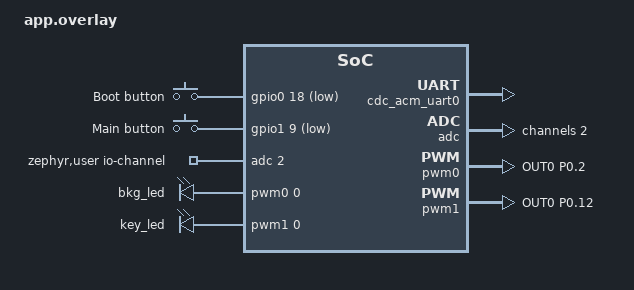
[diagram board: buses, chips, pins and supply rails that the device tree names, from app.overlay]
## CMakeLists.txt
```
cmake_minimum_required(VERSION 3.20.0)

set(APP_BIN "main" CACHE STRING "Application binary to build: main, uart, pwm_led, adc, usb, ble, key")

find_package(Zephyr REQUIRED HINTS $ENV{ZEPHYR_BASE})
project(RhythmDoctorButton)

if(APP_BIN STREQUAL "main")
  target_sources(app PRIVATE
    src/main.cpp
    src/battery_adc.cpp
    src/button.cpp
    src/light.cpp
    src/keyboard/ble.cpp
    src/keyboard/ble_hid.c
    src/keyboard/usb.cpp
  )
elseif(APP_BIN STREQUAL "uart")
  target_sources(app PRIVATE src/bin/test_uart.cpp)
elseif(APP_BIN STREQUAL "pwm_led")
  target_sources(app PRIVATE src/bin/test_pwm_led.cpp src/light.cpp)
elseif(APP_BIN STREQUAL "key")
  target_sources(app PRIVATE
    src/bin/test_key.cpp
    src/button.cpp
    src/light.cpp
  )
elseif(APP_BIN STREQUAL "adc")
  target_sources(app PRIVATE src/bin/test_adc.cpp src/battery_adc.cpp)
elseif(APP_BIN STREQUAL "usb")
  target_sources(app PRIVATE src/bin/test_usb.cpp src/keyboard/usb.cpp)
elseif(APP_BIN STREQUAL "ble")
  target_sources(app PRIVATE
    src/bin/test_ble.cpp
    src/keyboard/ble.cpp
    src/keyboard/ble_hid.c
  )
else()
  message(FATAL_ERROR "Unknown APP_BIN='${APP_BIN}'")
endif()

target_include_directories(app PRIVATE
  src
)
```

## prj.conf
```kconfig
CONFIG_CPP=y
CONFIG_STD_CPP2B=y
CONFIG_REQUIRES_FULL_LIBCPP=y
CONFIG_GLIBCXX_LIBCPP=y

CONFIG_MAIN_STACK_SIZE=4096
CONFIG_SYSTEM_WORKQUEUE_STACK_SIZE=2048
CONFIG_BT_RX_STACK_SIZE=2048

CONFIG_BT=y
CONFIG_BT_PERIPHERAL=y
CONFIG_BT_MAX_PAIRED=1
CONFIG_BT_DEVICE_NAME="RhythmDoctorButton"

CONFIG_BT_KEYS_OVERWRITE_OLDEST=y
CONFIG_BT_SMP=y
CONFIG_BT_SECURITY_ERR_TO_STR=y
CONFIG_BT_SMP_SC_PAIR_ONLY=n
CONFIG_BT_SMP_ENFORCE_MITM=n
CONFIG_BT_SMP_ALLOW_UNAUTH_OVERWRITE=y
CONFIG_BT_SMP_MIN_ENC_KEY_SIZE=7
CONFIG_BT_SETTINGS=y
CONFIG_BT_BONDABLE=y
CONFIG_BT_SETTINGS_CCC_STORE_ON_WRITE=y
CONFIG_BT_SETTINGS_CCC_LAZY_LOADING=n
CONFIG_SETTINGS=y
CONFIG_FLASH=y
CONFIG_FLASH_MAP=y
# CONFIG_NORDIC_QSPI_NOR is not set
CONFIG_NVS=y
CONFIG_SETTINGS_NVS=y

CONFIG_BT_LIM_ADV_TIMEOUT=180

CONFIG_BT_BAS=y
CONFIG_BT_DIS=y
CONFIG_BT_DIS_PNP=n
CONFIG_BT_DIS_MODEL_NUMBER=y
CONFIG_BT_DIS_MODEL_NUMBER_STR="v1.0.0"
CONFIG_BT_DIS_MANUF_NAME=y
CONFIG_BT_DIS_MANUF_NAME_STR="TeamIO"
CONFIG_BT_DIS_SERIAL_NUMBER=y
CONFIG_BT_DIS_SERIAL_NUMBER_STR="0xAABBCCDD"

CONFIG_BT_DEVICE_APPEARANCE=961 
CONFIG_BT_PERIPHERAL_PREF_MIN_INT=6    
CONFIG_BT_PERIPHERAL_PREF_MAX_INT=18    
CONFIG_BT_PERIPHERAL_PREF_LATENCY=10   
CONFIG_BT_PERIPHERAL_PREF_TIMEOUT=200
CONFIG_BT_GAP_AUTO_UPDATE_CONN_PARAMS=y

CONFIG_GPIO=y
CONFIG_ADC=y
CONFIG_PWM=y
CONFIG_SERIAL=y
CONFIG_CONSOLE=y
CONFIG_UART_CONSOLE=y
CONFIG_STDOUT_CONSOLE=y
CONFIG_UART_LINE_CTRL=y

CONFIG_CLOCK_CONTROL_NRF_K32SRC_XTAL=y
# CONFIG_CLOCK_CONTROL_NRF_K32SRC_RC=y
CONFIG_SYSTEM_CLOCK_NO_WAIT=y

CONFIG_USB_DEVICE_STACK_NEXT=y
CONFIG_USBD_HID_SUPPORT=y
CONFIG_USBD_CDC_ACM_CLASS=y

CONFIG_BUILD_OUTPUT_UF2=y
CONFIG_FLASH_LOAD_OFFSET=0x26000
```

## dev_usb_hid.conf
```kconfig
CONFIG_CDC_ACM_SERIAL_INITIALIZE_AT_BOOT=n
```

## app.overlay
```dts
/ {
	chosen {
		zephyr,console = &cdc_acm_uart0;
	};

	hid_dev_0: hid_dev_0 {
		compatible = "zephyr,hid-device";
		label = "HID0";
		protocol-code = "keyboard";
		in-report-size = <8>;
		in-polling-period-us = <1000>;
	};

	buttons {
		compatible = "gpio-keys";

		boot_btn: boot_btn {
			gpios = <&gpio0 18 GPIO_ACTIVE_LOW>;
			label = "Boot button";
		};

		main_btn: main_btn {
			gpios = <&gpio1 9 GPIO_ACTIVE_LOW>;
			label = "Main button";
		};
	};

	zephyr,user {
		io-channels = <&adc 2>;
	};

	pwmleds {
		compatible = "pwm-leds";

		bkg_led: bkg_led {
			pwms = <&pwm0 0 PWM_USEC(20) PWM_POLARITY_INVERTED>;
		};

		key_led: key_led {
			pwms = <&pwm1 0 PWM_USEC(20) PWM_POLARITY_NORMAL>;
		};
	};

	aliases {
		boot-btn = &boot_btn;
		main-btn = &main_btn;
		bkg-led = &bkg_led;
		key-led = &key_led;
	};
};

&zephyr_udc0 {
	cdc_acm_uart0: cdc_acm_uart0 {
		compatible = "zephyr,cdc-acm-uart";
	};
};

&adc {
	status = "okay";
	#address-cells = <1>;
	#size-cells = <0>;

	channel@2 {
		reg = <2>;
		zephyr,gain = "ADC_GAIN_1_4";
		zephyr,reference = "ADC_REF_INTERNAL";
		zephyr,acquisition-time = <ADC_ACQ_TIME_DEFAULT>;
		zephyr,input-positive = <NRF_SAADC_AIN2>;
		zephyr,resolution = <12>;
	};
};

&pwm0 {
	status = "okay";
	pinctrl-0 = <&pwm0_default>;
	pinctrl-1 = <&pwm0_sleep>;
	pinctrl-names = "default", "sleep";
};

&pwm1 {
	status = "okay";
	pinctrl-0 = <&pwm1_default>;
	pinctrl-1 = <&pwm1_sleep>;
	pinctrl-names = "default", "sleep";
};

&pinctrl {
	pwm0_default: pwm0_default {
		group1 {
			psels = <NRF_PSEL(PWM_OUT0, 0, 2)>;
		};
	};

	pwm0_sleep: pwm0_sleep {
		group1 {
			psels = <NRF_PSEL(PWM_OUT0, 0, 2)>;
			low-power-enable;
		};
	};

	pwm1_default: pwm1_default {
		group1 {
			psels = <NRF_PSEL(PWM_OUT0, 0, 12)>;
		};
	};

	pwm1_sleep: pwm1_sleep {
		group1 {
			psels = <NRF_PSEL(PWM_OUT0, 0, 12)>;
			low-power-enable;
		};
	};
};
```

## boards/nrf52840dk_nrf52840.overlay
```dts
#include <zephyr/dt-bindings/regulator/nrf5x.h>

/ {
	chosen {
		zephyr,console = &cdc_acm_uart0;
		zephyr,code-partition = &code_partition;
		zephyr,settings-partition = &storage_partition;
	};

	hid_dev_0: hid_dev_0 {
		compatible = "zephyr,hid-device";
		label = "HID0";
		protocol-code = "keyboard";
		in-report-size = <8>;
		in-polling-period-us = <1000>;
	};

	buttons {
		compatible = "gpio-keys";

		main_btn: main_btn {
			gpios = <&gpio1 9 GPIO_ACTIVE_LOW>;
			label = "Main button";
		};
	};

	zephyr,user {
		io-channels = <&adc 2>;
	};

	pwmleds {
		compatible = "pwm-leds";

		bkg_led: bkg_led {
			pwms = <&pwm0 0 PWM_USEC(20) PWM_POLARITY_INVERTED>;
		};

		key_led: key_led {
			pwms = <&pwm1 0 PWM_USEC(20) PWM_POLARITY_INVERTED>;
		};
	};

	aliases {
		main-btn = &main_btn;
		bkg-led = &bkg_led;
		key-led = &key_led;
	};
};

// https://github.com/zephyrproject-rtos/zephyr/issues/28061
&reg1 {
	regulator-initial-mode = <NRF5X_REG_MODE_LDO>;
};

&flash0 {
	/delete-node/ partitions;

	partitions {
		compatible = "fixed-partitions";
		#address-cells = <1>;
		#size-cells = <1>;

		/* nice!nano / Adafruit nRF52 bootloader layout:
		 * 0x00000..0x26000: MBR + S140 SoftDevice v6.1.1
		 * 0x26000..0xec000: Zephyr application
		 * 0xec000..0xf4000: Zephyr settings/NVS for BLE bonding keys
		 * 0xf4000..0x100000: UF2 bootloader
		 */
		reserved_partition_0: partition@0 {
			label = "MBR";
			read-only;
			reg = <0x00000000 0x00001000>;
		};

		softdevice_partition: partition@1000 {
			label = "SoftDevice";
			read-only;
			reg = <0x00001000 0x00025000>;
		};

		code_partition: partition@26000 {
			label = "Application";
			reg = <0x00026000 0x000c6000>;
		};

		storage_partition: partition@ec000 {
			label = "Storage";
			reg = <0x000ec000 0x00008000>;
		};

		boot_partition: partition@f4000 {
			label = "UF2";
			read-only;
			reg = <0x000f4000 0x0000c000>;
		};
	};
};

&zephyr_udc0 {
	cdc_acm_uart0: cdc_acm_uart0 {
		compatible = "zephyr,cdc-acm-uart";
	};
};

&qspi {
	status = "disabled";
};

&mx25r64 {
	status = "disabled";
};

&adc {
	status = "okay";
	#address-cells = <1>;
	#size-cells = <0>;

	channel@2 {
		reg = <2>;
		zephyr,gain = "ADC_GAIN_1_4";
		zephyr,reference = "ADC_REF_INTERNAL";
		zephyr,acquisition-time = <ADC_ACQ_TIME_DEFAULT>;
		zephyr,input-positive = <NRF_SAADC_AIN2>;
		zephyr,resolution = <12>;
	};
};

&pwm0 {
	status = "okay";
	pinctrl-0 = <&pwm0_default>;
	pinctrl-1 = <&pwm0_sleep>;
	pinctrl-names = "default", "sleep";
};

&pwm1 {
	status = "okay";
	pinctrl-0 = <&pwm1_default>;
	pinctrl-1 = <&pwm1_sleep>;
	pinctrl-names = "default", "sleep";
};

&pinctrl {
	pwm0_default: pwm0_default {
		group1 {
			nordic,invert;
			psels = <NRF_PSEL(PWM_OUT0, 0, 2)>;
		};
	};

	pwm0_sleep: pwm0_sleep {
		group1 {
			nordic,invert;
			psels = <NRF_PSEL(PWM_OUT0, 0, 2)>;
			low-power-enable;
		};
	};

	pwm1_default: pwm1_default {
		group1 {
			nordic,invert;
			psels = <NRF_PSEL(PWM_OUT0, 0, 12)>;
		};
	};

	pwm1_sleep: pwm1_sleep {
		group1 {
			nordic,invert;
			psels = <NRF_PSEL(PWM_OUT0, 0, 12)>;
			low-power-enable;
		};
	};
};
```

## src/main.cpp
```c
#include <memory>
#include <string_view>

#include <zephyr/devicetree.h>
#include <zephyr/drivers/adc.h>
#include <zephyr/drivers/gpio.h>
#include <zephyr/drivers/pwm.h>
#include <zephyr/kernel.h>
#include <zephyr/sys/printk.h>

#include "battery_adc.h"
#include "button.h"
#include "keyboard/keyboard.h"
#include "keyboard/usb_device.h"
#include "light.h"

static constexpr float kBkgLedFlashBrightness = 0.01f;
static constexpr float kKeyLedFlashBrightness = 0.3f;
static constexpr uint32_t kMainLoopDelayMs = 10;
static constexpr uint32_t kBatLevelReportDurationMs = 1000;

namespace {

constexpr gpio_dt_spec kMainButton =
    GPIO_DT_SPEC_GET(DT_ALIAS(main_btn), gpios);
constexpr pwm_dt_spec kBkgLed = PWM_DT_SPEC_GET(DT_ALIAS(bkg_led));
constexpr pwm_dt_spec kKeyLed = PWM_DT_SPEC_GET(DT_ALIAS(key_led));
constexpr adc_dt_spec kBatteryAdc =
    ADC_DT_SPEC_GET(DT_PATH(zephyr_user));

std::unique_ptr<rdb::IKeyboard> ble_keyboard;
std::unique_ptr<rdb::IKeyboard> usb_keyboard;
rdb::IKeyboard* keyboard = nullptr;

rdb::Button main_btn(kMainButton);
rdb::BatteryAdc bat_adc(kBatteryAdc);
rdb::Light bkg_led(kBkgLed);
rdb::Light key_led(kKeyLed);
rdb::LightFlasher advertising_flash;

uint32_t last_report_time_ms = 0;

void InspectKeyboardMode() {
  if (usb_keyboard != nullptr && keyboard == usb_keyboard.get()) {
    printk("Using USB HID keyboard\n");
  } else if (ble_keyboard != nullptr && keyboard == ble_keyboard.get()) {
    printk("Using Bluetooth keyboard\n");
  } else if (keyboard == nullptr) {
    printk("Keyboard unplugged\n");
  } else {
    printk("Invalid keyboard mode\n");
  }
}

void OnMainButtonPress() {
  printk("Press button\n");
  bkg_led.SetBrightness(kBkgLedFlashBrightness);
  key_led.SetBrightness(kKeyLedFlashBrightness);
  if (keyboard != nullptr && keyboard->is_connected()) {
    keyboard->Press(' ');
  }
}

void OnMainButtonRelease() {
  printk("Release button\n");
  bkg_led.SetBrightness(0.0f);
  key_led.SetBrightness(0.0f);
  if (keyboard != nullptr && keyboard->is_connected()) {
    keyboard->Release(' ');
  }
}

void EnableAdvertisingFlash() {
  advertising_flash.Reset();
}

void DisableAdvertisingFlash() {
  advertising_flash.Reset();
  bkg_led.SetBrightness(0.0f);
  key_led.SetBrightness(0.0f);
}

void Setup() {
  main_btn.Begin();
  main_btn.set_on_press(OnMainButtonPress);
  main_btn.set_on_release(OnMainButtonRelease);

  bat_adc.Begin();

  bkg_led.Begin();
  key_led.Begin();
  advertising_flash.SetPattern({
      {true, 100},
      {false, 1400},
  });

  ble_keyboard = std::make_unique<rdb::BleKeyboard>(
      CONFIG_BT_DEVICE_NAME, CONFIG_BT_DIS_MANUF_NAME_STR);
  ble_keyboard->Begin();

  usb_keyboard = std::make_unique<rdb::UsbKeyboard>(rdb::GetUsbHidDevice());
  usb_keyboard->Begin();
}

void Loop() {
  const uint32_t now_ms = static_cast<uint32_t>(k_uptime_get());

  main_btn.Update();
  bat_adc.Update();

  if (now_ms - last_report_time_ms > kBatLevelReportDurationMs) {
    last_report_time_ms = now_ms;
    const uint8_t level = bat_adc.battery_level();
    if (ble_keyboard != nullptr) {
      ble_keyboard->SetBatteryLevel(level);
    }
  }

  if (usb_keyboard != nullptr && usb_keyboard->is_connected()) {
    if (keyboard != usb_keyboard.get()) {
      keyboard = usb_keyboard.get();
      InspectKeyboardMode();
      DisableAdvertisingFlash();
    }
  } else if (ble_keyboard != nullptr && ble_keyboard->is_connected()) {
    if (keyboard != ble_keyboard.get()) {
      keyboard = ble_keyboard.get();
      keyboard->ReleaseAll();
      InspectKeyboardMode();
      DisableAdvertisingFlash();
    }
  } else {
    if (keyboard != nullptr) {
      keyboard = nullptr;
      InspectKeyboardMode();
      EnableAdvertisingFlash();
    }

    advertising_flash.Update(now_ms);
    key_led.SetBrightness(advertising_flash.is_on() ? kKeyLedFlashBrightness
                                                    : 0.0f);
  }
}

}  // namespace

int main() {
  printk("RhythmDoctorButton nRF52840 starting\n");
  Setup();

  while (true) {
    Loop();
    k_msleep(kMainLoopDelayMs);
  }
}
```

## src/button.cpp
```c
#include "button.h"

#include <zephyr/kernel.h>
#include <zephyr/sys/printk.h>

namespace rdb {

Button::Button(const gpio_dt_spec& gpio) : gpio_(gpio) {}

void Button::Begin() {
  if (!gpio_is_ready_dt(&gpio_)) {
    printk("Button GPIO is not ready\n");
    return;
  }

  const int ret = gpio_pin_configure_dt(&gpio_, GPIO_INPUT);
  if (ret != 0) {
    printk("Failed to configure button GPIO (%d)\n", ret);
    return;
  }

  state_ = gpio_pin_get_dt(&gpio_);
  last_state_ = state_;
  last_pressed_ = pressed();
}

void Button::Update() {
  const int reading = gpio_pin_get_dt(&gpio_);
  if (reading < 0) {
    return;
  }

  const uint32_t now_ms = static_cast<uint32_t>(k_uptime_get());
  if (last_state_ != reading) {
    last_debounce_time_ms_ = now_ms;
  }

  if (now_ms - last_debounce_time_ms_ >= kDebounceDelayMs) {
    state_ = reading;
    const bool is_pressed = pressed();
    if (last_pressed_ != is_pressed) {
      if (is_pressed && on_press_ != nullptr) {
        on_press_();
      }
      if (!is_pressed && on_release_ != nullptr) {
        on_release_();
      }
      last_pressed_ = is_pressed;
    }
  }

  last_state_ = reading;
}

}  // namespace rdb
```

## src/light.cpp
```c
#include "light.h"

#include <algorithm>

#include <zephyr/sys/printk.h>

namespace rdb {

Light::Light(const pwm_dt_spec& pwm, bool flip) : pwm_(pwm), flip_(flip) {}

void Light::Begin() {
  if (!pwm_is_ready_dt(&pwm_)) {
    printk("PWM device is not ready\n");
    return;
  }

  SetBrightness(0.0f);
}

void Light::SetBrightness(float val) {
  brightness_ = val;
  float ratio = std::clamp(val, 0.0f, 1.0f);
  if (flip_) {
    ratio = 1.0f - ratio;
  }

  const auto pulse = static_cast<uint32_t>(pwm_.period * ratio);
  const int ret = pwm_set_pulse_dt(&pwm_, pulse);
  if (ret != 0) {
    printk("Failed to set PWM pulse (%d)\n", ret);
  }
}

void LightFlasher::SetPattern(const std::vector<Pattern>& pattern) {
  pattern_ = pattern;
  Reset();
}

void LightFlasher::Reset() {
  current_pattern_index_ = 0;
  pattern_start_time_ms_ = 0;
  current_state_ = false;
}

bool LightFlasher::Update(uint32_t current_time_ms) {
  if (pattern_.empty()) {
    current_state_ = false;
    return current_state_;
  }

  if (pattern_start_time_ms_ == 0) {
    pattern_start_time_ms_ = current_time_ms;
    current_state_ = pattern_[0].first;
    return current_state_;
  }

  const uint32_t elapsed_ms = current_time_ms - pattern_start_time_ms_;
  uint32_t accumulated_ms = 0;
  for (size_t i = 0; i < pattern_.size(); ++i) {
    accumulated_ms += pattern_[i].second;
    if (elapsed_ms < accumulated_ms) {
      current_pattern_index_ = i;
      current_state_ = pattern_[i].first;
      return current_state_;
    }
  }

  pattern_start_time_ms_ = current_time_ms;
  current_pattern_index_ = 0;
  current_state_ = pattern_[0].first;
  return current_state_;
}

}  // namespace rdb
```

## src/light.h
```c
#ifndef APP_SRC_LIGHT_H_
#define APP_SRC_LIGHT_H_

#include <cstdint>
#include <utility>
#include <vector>

#include <zephyr/drivers/pwm.h>

namespace rdb {

class Light {
 public:
  Light(const pwm_dt_spec& pwm, bool flip = false);

  float brightness() const { return brightness_; }
  void Begin();
  void SetBrightness(float val);

 private:
  pwm_dt_spec pwm_;
  bool flip_;
  float brightness_ = 0.0f;
};

class LightFlasher {
 public:
  using Pattern = std::pair<bool, uint32_t>;

  bool is_on() const { return current_state_; }
  void SetPattern(const std::vector<Pattern>& pattern);
  void Reset();
  bool Update(uint32_t current_time_ms);

 private:
  std::vector<Pattern> pattern_;
  uint32_t pattern_start_time_ms_ = 0;
  size_t current_pattern_index_ = 0;
  bool current_state_ = false;
};

}  // namespace rdb

#endif  // APP_SRC_LIGHT_H_
```
